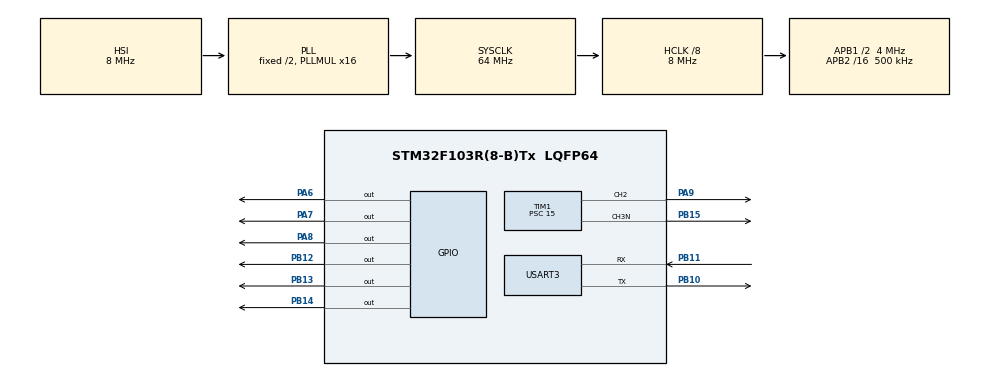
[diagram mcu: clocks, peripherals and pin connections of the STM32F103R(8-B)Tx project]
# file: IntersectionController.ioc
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FREERTOS.Events01=CLI_Status_Update,Dynamic,NULL;New_CMD_Rx,Dynamic,NULL
FREERTOS.Queues01=CLI_Queue,16,uint16_t,0,Dynamic,NULL,NULL;Status_Queue,16,uint16_t,0,Dynamic,NULL,NULL
FREERTOS.Tasks01=Traffic_Lights,32,128,Traffic_Lights_Task,Default,NULL,Dynamic,NULL,NULL;Rx_CLI,24,128,Rx_CLI_Task,Default,NULL,Dynamic,NULL,NULL;Status_CLI,16,128,Status_CLI_Task,Default,NULL,Dynamic,NULL,NULL
Mcu.Family=STM32F1
Mcu.Name=STM32F103R(8-B)Tx
Mcu.Package=LQFP64
NVIC.PriorityGroup=NVIC_PRIORITYGROUP_4
NVIC.TIM4_IRQn=true\:0\:0\:false\:false\:true\:false\:false\:true
NVIC.TimeBase=TIM4_IRQn
NVIC.TimeBaseIP=TIM4
PA13.Mode=Serial_Wire
PA13.Signal=SYS_JTMS-SWDIO
PA14.Mode=Serial_Wire
PA14.Signal=SYS_JTCK-SWCLK
PA6.GPIO_ModeDefaultOutputPP=GPIO_MODE_OUTPUT_OD
PA6.Signal=GPIO_Output
PA7.GPIO_ModeDefaultOutputPP=GPIO_MODE_OUTPUT_OD
PA7.Signal=GPIO_Output
PA8.GPIO_ModeDefaultOutputPP=GPIO_MODE_OUTPUT_OD
PA8.Signal=GPIO_Output
PA9.Signal=S_TIM1_CH2
PB10.Mode=Asynchronous
PB10.Signal=USART3_TX
PB11.Mode=Asynchronous
PB11.Signal=USART3_RX
PB12.GPIO_ModeDefaultOutputPP=GPIO_MODE_OUTPUT_OD
PB12.Signal=GPIO_Output
PB13.GPIO_ModeDefaultOutputPP=GPIO_MODE_OUTPUT_OD
PB13.Signal=GPIO_Output
PB14.GPIO_ModeDefaultOutputPP=GPIO_MODE_OUTPUT_OD
PB14.Signal=GPIO_Output
PB15.Mode=PWM Generation3 CH3N
PB15.Signal=TIM1_CH3N
ProjectManager.HeapSize=0x200
ProjectManager.StackSize=0x400
ProjectManager.TargetToolchain=STM32CubeIDE
RCC.AHBCLKDivider=RCC_SYSCLK_DIV8
RCC.AHBFreq_Value=8000000
RCC.APB1CLKDivider=RCC_HCLK_DIV2
RCC.APB1Freq_Value=4000000
RCC.APB1TimFreq_Value=8000000
RCC.APB2CLKDivider=RCC_HCLK_DIV16
RCC.APB2Freq_Value=500000
RCC.APB2TimFreq_Value=1000000
RCC.HCLKFreq_Value=8000000
RCC.PLLMUL=RCC_PLL_MUL16
RCC.SYSCLKFreq_VALUE=64000000
RCC.SYSCLKSource=RCC_SYSCLKSOURCE_PLLCLK
RCC.USBFreq_Value=64000000
SH.S_TIM1_CH2.0=TIM1_CH2,PWM Generation2 CH2
TIM1.Channel-PWM\ Generation2\ CH2=TIM_CHANNEL_2
TIM1.Channel-PWM\ Generation3\ CH3N=TIM_CHANNEL_3
TIM1.Period=100
TIM1.Prescaler=15
TIM1.Pulse-PWM\ Generation2\ CH2=50
TIM1.Pulse-PWM\ Generation3\ CH3N=62500
USART3.VirtualMode=VM_ASYNC
VP_FREERTOS_VS_CMSIS_V2.Mode=CMSIS_V2
VP_SYS_VS_tim4.Mode=TIM4
VP_TIM1_VS_ClockSourceINT.Mode=Internal
board=custom

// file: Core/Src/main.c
/* USER CODE BEGIN Header */
/**
  ******************************************************************************
  * @file           : main.c
  * @brief          : Main program body
  ******************************************************************************
  * @attention
  *
  * <h2><center>&copy; Copyright (c) 2020 STMicroelectronics.
  * All rights reserved.</center></h2>
  *
  * This software component is licensed by ST under BSD 3-Clause license,
  * the "License"; You may not use this file except in compliance with the
  * License. You may obtain a copy of the License at:
  *                        opensource.org/licenses/BSD-3-Clause
  *
  ******************************************************************************
  */
/* USER CODE END Header */
#include "main.h"
#include "cmsis_os.h"

TIM_HandleTypeDef htim1;

UART_HandleTypeDef huart3;

/* Definitions for Traffic_Lights */
osThreadId_t Traffic_LightsHandle;
const osThreadAttr_t Traffic_Lights_attributes = {
  .name = "Traffic_Lights",
  .priority = (osPriority_t) osPriorityAboveNormal,
  .stack_size = 128 * 4
};
/* Definitions for Rx_CLI */
osThreadId_t Rx_CLIHandle;
const osThreadAttr_t Rx_CLI_attributes = {
  .name = "Rx_CLI",
  .priority = (osPriority_t) osPriorityNormal,
  .stack_size = 128 * 4
};
/* Definitions for Status_CLI */
osThreadId_t Status_CLIHandle;
const osThreadAttr_t Status_CLI_attributes = {
  .name = "Status_CLI",
  .priority = (osPriority_t) osPriorityBelowNormal,
  .stack_size = 128 * 4
};
/* Definitions for CLI_Queue */
osMessageQueueId_t CLI_QueueHandle;
const osMessageQueueAttr_t CLI_Queue_attributes = {
  .name = "CLI_Queue"
};
/* Definitions for Status_Queue */
osMessageQueueId_t Status_QueueHandle;
const osMessageQueueAttr_t Status_Queue_attributes = {
  .name = "Status_Queue"
};
/* Definitions for CLI_Status_Update */
osEventFlagsId_t CLI_Status_UpdateHandle;
const osEventFlagsAttr_t CLI_Status_Update_attributes = {
  .name = "CLI_Status_Update"
};
/* Definitions for New_CMD_Rx */
osEventFlagsId_t New_CMD_RxHandle;
const osEventFlagsAttr_t New_CMD_Rx_attributes = {
  .name = "New_CMD_Rx"
};
/* USER CODE BEGIN PV */
const uint32_t CLI_STATUS_FLAG = 0x0001U;
const uint32_t NEW_CMD_FLAG = 0x0002U;
/* USER CODE END PV */

void SystemClock_Config(void);
static void MX_GPIO_Init(void);
static void MX_USART3_UART_Init(void);
static void MX_TIM1_Init(void);
void Traffic_Lights_Task(void *argument);
void Rx_CLI_Task(void *argument);
void Status_CLI_Task(void *argument);

int main(void)
{

  /* MCU Configuration--------------------------------------------------------*/

  /* Reset of all peripherals, Initializes the Flash interface and the Systick. */
  HAL_Init();

  /* Configure the system clock */
  SystemClock_Config();

  /* Initialize all configured peripherals */
  MX_GPIO_Init();
  MX_USART3_UART_Init();
  MX_TIM1_Init();
  /* USER CODE BEGIN 2 */
  Cli_init(&huart3);
  HAL_TIM_Base_Start(&htim1);
  /* USER CODE END 2 */

  /* Init scheduler */
  osKernelInitialize();

  /* Create the queue(s) */
  /* creation of CLI_Queue */
  CLI_QueueHandle = osMessageQueueNew (16, sizeof(CMD_MSG_QUEUE_t), &CLI_Queue_attributes);

  /* creation of Status_Queue */
  Status_QueueHandle = osMessageQueueNew (2, sizeof(Status_MSG_QUEUE_t), &Status_Queue_attributes);

  /* Create the thread(s) */
  /* creation of Traffic_Lights */
  Traffic_LightsHandle = osThreadNew(Traffic_Lights_Task, NULL, &Traffic_Lights_attributes);

  /* creation of Rx_CLI */
  Rx_CLIHandle = osThreadNew(Rx_CLI_Task, NULL, &Rx_CLI_attributes);

  /* creation of Status_CLI */
  Status_CLIHandle = osThreadNew(Status_CLI_Task, NULL, &Status_CLI_attributes);

  /* Create the event(s) */
  /* creation of CLI_Status_Update */
  CLI_Status_UpdateHandle = osEventFlagsNew(&CLI_Status_Update_attributes);

  /* creation of New_CMD_Rx */
  New_CMD_RxHandle = osEventFlagsNew(&New_CMD_Rx_attributes);

  /* Start scheduler */
  osKernelStart();

  /* We should never get here as control is now taken by the scheduler */
  /* Infinite loop */
  while (1)
  {

  }
}

void SystemClock_Config(void)
{
  RCC_OscInitTypeDef RCC_OscInitStruct = {0};
  RCC_ClkInitTypeDef RCC_ClkInitStruct = {0};

  /** Initializes the RCC Oscillators according to the specified parameters
  * in the RCC_OscInitTypeDef structure.
  */
  RCC_OscInitStruct.OscillatorType = RCC_OSCILLATORTYPE_HSI;
  RCC_OscInitStruct.HSIState = RCC_HSI_ON;
  RCC_OscInitStruct.HSICalibrationValue = RCC_HSICALIBRATION_DEFAULT;
  RCC_OscInitStruct.PLL.PLLState = RCC_PLL_ON;
  RCC_OscInitStruct.PLL.PLLSource = RCC_PLLSOURCE_HSI_DIV2;
  RCC_OscInitStruct.PLL.PLLMUL = RCC_PLL_MUL16;
  if (HAL_RCC_OscConfig(&RCC_OscInitStruct) != HAL_OK)
  {
    Error_Handler();
  }
  /** Initializes the CPU, AHB and APB buses clocks
  */
  RCC_ClkInitStruct.ClockType = RCC_CLOCKTYPE_HCLK|RCC_CLOCKTYPE_SYSCLK
                              |RCC_CLOCKTYPE_PCLK1|RCC_CLOCKTYPE_PCLK2;
  RCC_ClkInitStruct.SYSCLKSource = RCC_SYSCLKSOURCE_PLLCLK;
  RCC_ClkInitStruct.AHBCLKDivider = RCC_SYSCLK_DIV8;
  RCC_ClkInitStruct.APB1CLKDivider = RCC_HCLK_DIV2;
  RCC_ClkInitStruct.APB2CLKDivider = RCC_HCLK_DIV16;

  if (HAL_RCC_ClockConfig(&RCC_ClkInitStruct, FLASH_LATENCY_2) != HAL_OK)
  {
    Error_Handler();
  }
}

static void MX_TIM1_Init(void)
{

  TIM_ClockConfigTypeDef sClockSourceConfig = {0};
  TIM_MasterConfigTypeDef sMasterConfig = {0};
  TIM_OC_InitTypeDef sConfigOC = {0};
  TIM_BreakDeadTimeConfigTypeDef sBreakDeadTimeConfig = {0};

  htim1.Instance = TIM1;
  htim1.Init.Prescaler = 99;
  htim1.Init.CounterMode = TIM_COUNTERMODE_UP;
  htim1.Init.Period = 10000;
  htim1.Init.ClockDivision = TIM_CLOCKDIVISION_DIV1;
  htim1.Init.RepetitionCounter = 0;
  htim1.Init.AutoReloadPreload = TIM_AUTORELOAD_PRELOAD_DISABLE;
  if (HAL_TIM_Base_Init(&htim1) != HAL_OK)
  {
    Error_Handler();
  }
  sClockSourceConfig.ClockSource = TIM_CLOCKSOURCE_INTERNAL;
  if (HAL_TIM_ConfigClockSource(&htim1, &sClockSourceConfig) != HAL_OK)
  {
    Error_Handler();
  }
  if (HAL_TIM_PWM_Init(&htim1) != HAL_OK)
  {
    Error_Handler();
  }
  sMasterConfig.MasterOutputTrigger = TIM_TRGO_RESET;
  sMasterConfig.MasterSlaveMode = TIM_MASTERSLAVEMODE_DISABLE;
  if (HAL_TIMEx_MasterConfigSynchronization(&htim1, &sMasterConfig) != HAL_OK)
  {
    Error_Handler();
  }
  sConfigOC.OCMode = TIM_OCMODE_PWM1;
  sConfigOC.Pulse = 101;
  sConfigOC.OCPolarity = TIM_OCPOLARITY_HIGH;
  sConfigOC.OCNPolarity = TIM_OCNPOLARITY_HIGH;
  sConfigOC.OCFastMode = TIM_OCFAST_DISABLE;
  sConfigOC.OCIdleState = TIM_OCIDLESTATE_RESET;
  sConfigOC.OCNIdleState = TIM_OCNIDLESTATE_RESET;
  if (HAL_TIM_PWM_ConfigChannel(&htim1, &sConfigOC, TIM_CHANNEL_2) != HAL_OK)
  {
    Error_Handler();
  }
 // sConfigOC.Pulse = 50;
  if (HAL_TIM_PWM_ConfigChannel(&htim1, &sConfigOC, TIM_CHANNEL_3) != HAL_OK)
  {
    Error_Handler();
  }
  sBreakDeadTimeConfig.OffStateRunMode = TIM_OSSR_DISABLE;
  sBreakDeadTimeConfig.OffStateIDLEMode = TIM_OSSI_DISABLE;
  sBreakDeadTimeConfig.LockLevel = TIM_LOCKLEVEL_OFF;
  sBreakDeadTimeConfig.DeadTime = 0;
  sBreakDeadTimeConfig.BreakState = TIM_BREAK_DISABLE;
  sBreakDeadTimeConfig.BreakPolarity = TIM_BREAKPOLARITY_HIGH;
  sBreakDeadTimeConfig.AutomaticOutput = TIM_AUTOMATICOUTPUT_DISABLE;
  if (HAL_TIMEx_ConfigBreakDeadTime(&htim1, &sBreakDeadTimeConfig) != HAL_OK)
  {
    Error_Handler();
  }
  HAL_TIM_MspPostInit(&htim1);

}

static void MX_USART3_UART_Init(void)
{

  huart3.Instance = USART3;
  huart3.Init.BaudRate = 115200;
  huart3.Init.WordLength = UART_WORDLENGTH_8B;
  huart3.Init.StopBits = UART_STOPBITS_1;
  huart3.Init.Parity = UART_PARITY_NONE;
  huart3.Init.Mode = UART_MODE_TX_RX;
  huart3.Init.HwFlowCtl = UART_HWCONTROL_NONE;
  huart3.Init.OverSampling = UART_OVERSAMPLING_16;
  if (HAL_UART_Init(&huart3) != HAL_OK)
  {
    Error_Handler();
  }

}

static void MX_GPIO_Init(void)
{
  GPIO_InitTypeDef GPIO_InitStruct = {0};

  /* GPIO Ports Clock Enable */
  __HAL_RCC_GPIOA_CLK_ENABLE();
  __HAL_RCC_GPIOB_CLK_ENABLE();

  /*Configure GPIO pin Output Level */
  HAL_GPIO_WritePin(GPIOA, GPIO_PIN_6|GPIO_PIN_7|GPIO_PIN_8, GPIO_PIN_RESET);

  /*Configure GPIO pin Output Level */
  HAL_GPIO_WritePin(GPIOB, GPIO_PIN_12|GPIO_PIN_13|GPIO_PIN_14, GPIO_PIN_RESET);

  /*Configure GPIO pins : PA6 PA7 PA8 */
  GPIO_InitStruct.Pin = GPIO_PIN_6|GPIO_PIN_7|GPIO_PIN_8;
  GPIO_InitStruct.Mode = GPIO_MODE_OUTPUT_OD;
  GPIO_InitStruct.Pull = GPIO_NOPULL;
  GPIO_InitStruct.Speed = GPIO_SPEED_FREQ_LOW;
  HAL_GPIO_Init(GPIOA, &GPIO_InitStruct);

  /*Configure GPIO pins : PB12 PB13 PB14 */
  GPIO_InitStruct.Pin = GPIO_PIN_12|GPIO_PIN_13|GPIO_PIN_14;
  GPIO_InitStruct.Mode = GPIO_MODE_OUTPUT_OD;
  GPIO_InitStruct.Pull = GPIO_NOPULL;
  GPIO_InitStruct.Speed = GPIO_SPEED_FREQ_LOW;
  HAL_GPIO_Init(GPIOB, &GPIO_InitStruct);

}

/* USER CODE BEGIN 4 */
void Execute_Cmd(UART_HandleTypeDef * huart, CMD_MSG_QUEUE_t * cliMessage)
{

	  printStringBlock(huart, NEW_LINE_STR);
	  char * arg_substr = NULL;
	  char * rxCommand = strstrip(rxLineBuffer);
	  // The following if statements use strcmp to compare rxLineBuffer string with
	  // ..a specific command string. If equal execute that command.
	  if (strcmp(rxCommand, CMD_FSM_STR) == 0)	//If mode fsm is recieved
	  {
		    cliMessage->code = CMD_FSM_CODE;
			if(osMessageQueuePut(CLI_QueueHandle, cliMessage, 1U, 0U)!= osOK)
			{
			  Error_Handler();
			}
		  osEventFlagsSet(New_CMD_RxHandle, NEW_CMD_FLAG);
		  printStringBlock(huart, MSG_FSM_STR);
	  }
	  else if (strcmp(rxCommand, CMD_SCM_STR) == 0)	//If mode scm is recived
	  {
		  cliMessage->code = CMD_SCM_CODE;
	    	if(osMessageQueuePut(CLI_QueueHandle, cliMessage, 1U, 0U)!= osOK)
	        {
	          Error_Handler();
	        }
		  osEventFlagsSet(New_CMD_RxHandle, NEW_CMD_FLAG);
		  printStringBlock(huart, MSG_SCM_STR);
	  }
	  else if ((arg_substr = strstr(rxCommand, CMD_ATM_STR)) != NULL )	//If atm [x] is recived
	  {

		  arg_substr += strlen(CMD_ATM_STR);	//extract the argument from the command
		  uint8_t arg_int = atoi(arg_substr);	//convert argument into integer form
		  if((arg_int >= 1) && (arg_int <= 100))	//ensure argument is between 1 and 100.
		  {
			  cliMessage->code = CMD_ATM_CODE;		//Form the message to send to the CLI_queueHandle
			  cliMessage->multiplier = arg_int;
			  if(osMessageQueuePut(CLI_QueueHandle, cliMessage, 1U, 0U)!= osOK)
			  {
				  Error_Handler();
			  }
			  osEventFlagsSet(New_CMD_RxHandle, NEW_CMD_FLAG);	  //Set the event flag, so the execution context
			  	  	  	  	  	  	  	  	  	  	  	  	  	  // returns immediately to the high priority task
			  printStringBlock(huart, MSG_ATM_STR);

			  printStringBlock(huart, arg_substr);
			  printStringBlock(huart, " !!");
			  printStringBlock(huart, NEW_LINE_STR);
			  arg_substr = NULL;
		  }
		  else
		  {
			  printStringBlock(huart, MSG_ATM_ERR_STR);

		  }
	  }
	  else if (strcmp(rxCommand, CMD_HELP_STR) == 0)		//If help command is entered
	  {
		  printStringBlock(huart, MSG_HELP_STR);
	  }
	  else if ((buffCount != 0) && (*rxCommand != '\0'))		//If the rxLineBuffer is empty, don't print help message
	  {
		  printStringBlock(huart, MSG_CMD_ERR_STR);
		  printStringBlock(huart, rxCommand);
		  printStringBlock(huart, MSG_ASK_HELP_STR);
	  }

	  //Transmit command prompt
	  printStringBlock(huart, PROMPT_STR);

}

/* USER CODE END 4 */

void Traffic_Lights_Task(void *argument)
{
  /* USER CODE BEGIN 5 */
	 CMD_MSG_QUEUE_t cliMessage;
	 Status_MSG_QUEUE_t statusMessage;
	volatile uint16_t atmMultiplier = 1;
	osStatus_t status;
	//osStatus_t temp;
	volatile LightScmState currScmState = Fail_Safe;

	//Initial state of primary and secondary traffic lights all off
	 Primary_Red(LIGHT_OFF);
	 Primary_Yellow(LIGHT_OFF);
	 Primary_Green(LIGHT_OFF);
	 Primary_Walk(LIGHT_OFF);
	 __HAL_TIM_SET_COMPARE(&htim1,TIM_CHANNEL_2, 10001);
	 Secondary_Red(LIGHT_OFF);
	 Secondary_Yellow(LIGHT_OFF);
	 Secondary_Green(LIGHT_OFF);
	 Secondary_Walk(LIGHT_OFF);
	 __HAL_TIM_SET_COMPARE(&htim1,TIM_CHANNEL_3, 10001);
	//Starting PWM on blue LED for walk sign blinking
	 HAL_TIM_PWM_Start(&htim1,TIM_CHANNEL_2);
	 HAL_TIMEx_PWMN_Start(&htim1,TIM_CHANNEL_3);

	//Send a status message straight away of current state
	statusMessage.code = CMD_FSM_CODE;
	statusMessage.multiplier = 1;
	statusMessage.LightState = currScmState;
	if(osMessageQueuePut(Status_QueueHandle, &statusMessage, 1U, 0U)!= osOK)
	{
		Error_Handler();
	}
	/* Infinite loop */
	for(;;)
	{

		//check for messages but do not block.
		status = osMessageQueueGet(CLI_QueueHandle, &cliMessage, NULL, 0U );
		if(status == osOK)  	//This means a message has been received
		{
			//Clear any previously pending flags
			osEventFlagsClear(New_CMD_RxHandle,NEW_CMD_FLAG);

			if(cliMessage.code == CMD_FSM_CODE)  //If recived fail safe mode command
			{

				//Turn all the traffic lights off excluding the red lights
				Primary_Yellow(LIGHT_OFF);
				Primary_Green(LIGHT_OFF);
				__HAL_TIM_SET_COMPARE(&htim1,TIM_CHANNEL_2, 10001);
				Secondary_Yellow(LIGHT_OFF);
				Secondary_Green(LIGHT_OFF);
				__HAL_TIM_SET_COMPARE(&htim1,TIM_CHANNEL_3, 10001);

				//Set current state to fail safe
				currScmState = Fail_Safe;
				atmMultiplier = 1;
			}
			else if(cliMessage.code == CMD_ATM_CODE)	//If accelerated test mode cammand is recieved
			{
				//Change the current state to primary starting state
				currScmState = Primary_G_WK_State;
				atmMultiplier = cliMessage.multiplier;	//Set the multiplier

			}
			else if((cliMessage.code == CMD_SCM_CODE))	//If the static cyclic mode command is recived
			{
				//Set the current state to primary starting state
				currScmState = Primary_G_WK_State;
				atmMultiplier = 1;
			}

			//Update status message with latest information about mode and multiplier
			statusMessage.code = cliMessage.code;
			statusMessage.multiplier = atmMultiplier;

		}

		//Encode the current state in the statusMessage struct to send to display status task
		statusMessage.LightState = currScmState;

		if (osMessageQueueGetCount(Status_QueueHandle) < 2)	//To ensure queue isn't full
		{
			//Send the status message via queue
			if(osMessageQueuePut(Status_QueueHandle, &statusMessage, 1U, 0U) != osOK)
			{
				Error_Handler();
			}
		}

		//Implementing state machine according to the timing diagram of traffic light transitions
		//Based on the state, a state even handler is called which toggles LED's and sets PWM for walk sign..
		//...LED to blink at 1Hz. Then it waits for a specified amount of time which is divided by the ATM
		//...value entered by the user. While waiting it blocks the tasks so lower priority tasks can be..
		//...executed. If a command is recieved during this time, then it immediatly returns using event communication.
		switch (currScmState)
		{
		case Primary_G_WK_State :

			 Primary_G_WK_EventHandler();

			osEventFlagsWait(New_CMD_RxHandle, NEW_CMD_FLAG ,osFlagsWaitAny, (uint32_t) (70500/atmMultiplier));
			currScmState = Primary_G_WW_State;

			break;

		case Primary_G_WW_State :

			Primary_G_WW_EventHandler();

			osEventFlagsWait(New_CMD_RxHandle, NEW_CMD_FLAG ,osFlagsWaitAny, (uint32_t) (14000/atmMultiplier));
			currScmState = Primary_Y_DW_State;
			break;

		case Primary_Y_DW_State :

			Primary_Y_DW_EventHandler();

			osEventFlagsWait(New_CMD_RxHandle, NEW_CMD_FLAG ,osFlagsWaitAny, (uint32_t) (3500/atmMultiplier));

			currScmState = Primary_R_DW_State;
			break;

		case Primary_R_DW_State :

			Primary_R_DW_EventHandler();

			osEventFlagsWait(New_CMD_RxHandle, NEW_CMD_FLAG ,osFlagsWaitAny, (uint32_t) (6000/atmMultiplier));

			currScmState = Secondary_G_WK_State;
			break;

		case Secondary_G_WK_State :

			Secondary_G_WK_EventHandler();

			osEventFlagsWait(New_CMD_RxHandle, NEW_CMD_FLAG ,osFlagsWaitAny, (uint32_t) (20000/atmMultiplier));

			currScmState = Secondary_G_WW_State;
			break;

		case Secondary_G_WW_State :

			Secondary_G_WW_EventHandler();

			osEventFlagsWait(New_CMD_RxHandle, NEW_CMD_FLAG ,osFlagsWaitAny, (uint32_t) (8000/atmMultiplier));

			currScmState = Secondary_Y_WW_State;
			break;

		case Secondary_Y_WW_State :

			Secondary_Y_WW_EventHandler();

			osEventFlagsWait(New_CMD_RxHandle, NEW_CMD_FLAG ,osFlagsWaitAny, (uint32_t) (3500/atmMultiplier));
			currScmState = Primary_G_WK_State;
			break;

		case Fail_Safe:   //Fail safe mode blinks LED at 0.5Hz with 75% duty cycle.

			Primary_Red(LIGHT_ON);
			Secondary_Red(LIGHT_ON);
			osDelay(1500);
			Primary_Red(LIGHT_OFF);
			Secondary_Red(LIGHT_OFF);
			osDelay(500);

			break;
		}

		//osDelay(period);
	}
  osThreadTerminate(NULL);
  /* USER CODE END 5 */
}

void Rx_CLI_Task(void *argument)
{
  /* USER CODE BEGIN Rx_CLI_Task */
	CMD_MSG_QUEUE_t cliMessage;
  /* Infinite loop */
  for(;;)
  {
	  if (HAL_UART_Receive(&huart3, (uint8_t *) &rxBuffer, 1, 300) == HAL_OK)
	  {
		if(rxBuffer == '\r')		//If newline was entered
		{

			Execute_Cmd(&huart3, &cliMessage);		//Execute the command line

			//Reset the command line buffer to null
			memset(rxLineBuffer, '\0', sizeof(rxLineBuffer));
			buffCount = 0;

		}
		//If Backspace key was pressed..
		else if ((rxBuffer == '\b') ||	(rxBuffer == 127))
		{
			//Check if buffer count is greater than 0
			 if (buffCount > 0)
			 {
				  buffCount--;								//Decrement command line buffer count
				  rxLineBuffer[buffCount] = '\0';			//Set last character to null indicating
															//..an erase from backspace
				  printStringBlock(&huart3, &rxBuffer);		//Print the output to terminal
			 }

		}
		//If command line buffer count is less than max, and the recieved character is
		//.. within the ascii alphabet scheme.
		else if((buffCount < MAX_RX) && (rxBuffer >= 32) && (rxBuffer <= 126))
		{
			//Push the recieved character into command line buffer
			rxLineBuffer[buffCount] = rxBuffer;
			buffCount++;	//Increment buffer count
			printStringBlock(&huart3, &rxBuffer);	//Output that recieved character to terminal
		}

	  }
	  else
	  {
		  osEventFlagsWait(CLI_Status_UpdateHandle, CLI_STATUS_FLAG, osFlagsWaitAny, 50);
		  //osDelay(50);
	  }
  }
  /* USER CODE END Rx_CLI_Task */
}

void Status_CLI_Task(void *argument)
{
  /* USER CODE BEGIN Status_CLI_Task */
	Status_MSG_QUEUE_t statusMessage;
	Status_MSG_QUEUE_t displayMSG;
	osStatus_t status;
	char * Init_Region = SAVE_CURSOR CLEAR_STATUS(10) SET_REGION(11) SET_CURSOR(0,0);
	char atmMultiplier[10];
	memset(atmMultiplier, '\0', sizeof(atmMultiplier));

	/* Infinite loop */

	for(;;)
	{
		//Recive the status message from the queue
		 status = osMessageQueueGet(Status_QueueHandle, &statusMessage, NULL, 0U );
		 if(status == osOK)
		 {
			 displayMSG = statusMessage;
		 }

		 //convert multiplier value from int to str
		itoa(displayMSG.multiplier, atmMultiplier, 10);

		//Initialize the status window
		printStringBlock(&huart3, Init_Region);

		//Based on the mode user has selected, it outputs that info to display
		switch (displayMSG.code)
		{
		case CMD_ATM_CODE :
			printStringBlock(&huart3, SET_CURSOR(6,2) "ACCELERATED TEST MODE " SET_CURSOR(7,12) "x");
			printStringBlock(&huart3, atmMultiplier);
			break;

		case CMD_FSM_CODE :
			printStringBlock(&huart3, SET_CURSOR(6,2) "FAIL SAFE MODE");

			break;

		case CMD_SCM_CODE :
			printStringBlock(&huart3, SET_CURSOR(6,2) "STATIC CYCLE MODE");
			break;

		}

		//Depending the current state of the traffic lights, it outputs coloured blocks indiacting
		//.. the status of traffic light.
		switch (displayMSG.LightState)
		{
			case Primary_G_WK_State:
				Primary_G_WK_StatusUpdate();
			break;

			case Primary_G_WW_State:
				Primary_G_WW_StatusUpdate();
			break;

			case Primary_Y_DW_State:
				Primary_Y_DW_StatusUpdate();
			break;

			case Primary_R_DW_State:
				Primary_R_DW_StatusUpdate();
			break;

			case Secondary_G_WK_State:
				Secondary_G_WK_StatusUpdate();
			break;

			case Secondary_G_WW_State:
				Secondary_G_WW_StatusUpdate();
			break;

			case Secondary_Y_WW_State:
				Secondary_Y_WW_StatusUpdate();
			break;

			case Fail_Safe:
				Fail_Safe_StatusUpdate();
			break;

		}
		//Restore the cursor.
		printStringBlock(&huart3, RESTORE_CURSOR);
		memset(atmMultiplier, '\0', sizeof(atmMultiplier));

		osEventFlagsSet(CLI_Status_UpdateHandle, CLI_STATUS_FLAG);

	}
  /* USER CODE END Status_CLI_Task */
}

 /**
  * @brief  Period elapsed callback in non blocking mode
  * @note   This function is called  when TIM4 interrupt took place, inside
  * HAL_TIM_IRQHandler(). It makes a direct call to HAL_IncTick() to increment
  * a global variable "uwTick" used as application time base.
  * @param  htim : TIM handle
  * @retval None
  */
void HAL_TIM_PeriodElapsedCallback(TIM_HandleTypeDef *htim)
{
  if (htim->Instance == TIM4) {
    HAL_IncTick();
  }
}

void Error_Handler(void)
{
  __disable_irq();
  while (1)
  {
  }
}

/************************ (C) COPYRIGHT STMicroelectronics *****END OF FILE****/
